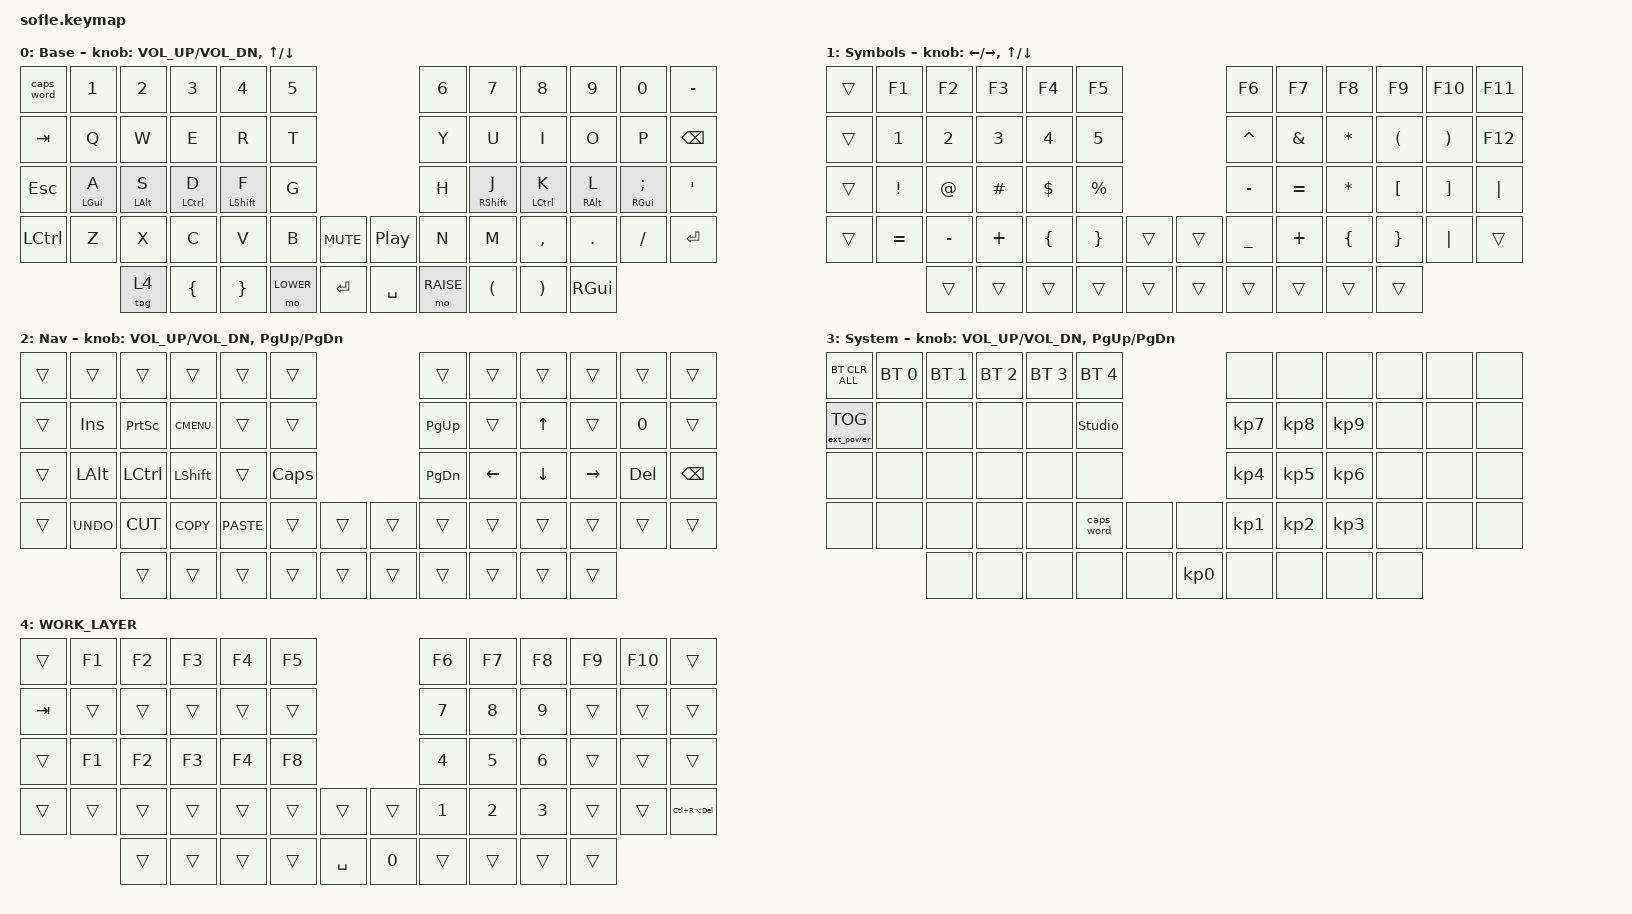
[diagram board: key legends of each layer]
/*
 * Copyright (c) 2020 The ZMK Contributors
 *
 * SPDX-License-Identifier: MIT
 */

#include <behaviors.dtsi>
#include <dt-bindings/zmk/bt.h>
#include <dt-bindings/zmk/ext_power.h>
#include <dt-bindings/zmk/keys.h>

// Encoders

&sensors { triggers-per-rotation = <30>; };

&left_encoder { steps = <60>; };

&right_encoder { steps = <60>; };

#define BASE 0
#define LOWER 1
#define RAISE 2
#define ADJUST 3

/ {
    // Activate ADJUST layer by pressing raise and lower

    conditional_layers {
        compatible = "zmk,conditional-layers";

        adjust {
            if-layers = <1 2>;
            then-layer = <3>;
        };
    };

    combos {
        compatible = "zmk,combos";

        backspace {
            bindings = <&kp BACKSPACE>;
            key-positions = <32 31>;
        };

        delete {
            bindings = <&kp DELETE>;
            key-positions = <27 33>;
        };

        esc {
            bindings = <&kp ESCAPE>;
            key-positions = <25 41>;
        };
    };

    behaviors {
        caps: caps {
            compatible = "zmk,behavior-caps-word";
            label = "CAPS";
            #binding-cells = <0>;
            continue-list = <POUND MINUS BACKSPACE UNDERSCORE>;
        };

        HMShiftR: HMShiftR {
            compatible = "zmk,behavior-hold-tap";
            label = "HMSHIFTR";
            bindings = <&kp>, <&kp>;

            #binding-cells = <2>;
            tapping-term-ms = <200>;
            hold-while-undecided;
            hold-trigger-key-positions = <0 1 3 2 3 4 5 14 15 16 17 26 27 28 29 38 39 40 41 42 50 51 52 53 54 12 12 13 24 25 36 37>;
        };

        HMShiftL: HMShiftL {
            compatible = "zmk,behavior-hold-tap";
            label = "HMSHIFTL";
            bindings = <&kp>, <&kp>;

            #binding-cells = <2>;
            tapping-term-ms = <200>;
            hold-trigger-key-positions = <6 10 11 18 19 20 21 22 23 30 31 32 33 34 35 43 44 45 46 47 48 49 55 56 57 58 59 7 8 9>;
            hold-while-undecided;
            hold-trigger-on-release;
        };

        HMR: HMR {
            compatible = "zmk,behavior-hold-tap";
            label = "HMR";
            bindings = <&kp>, <&kp>;

            #binding-cells = <2>;
            tapping-term-ms = <200>;
            hold-while-undecided;
            hold-trigger-on-release;
            flavor = "tap-preferred";
            hold-trigger-key-positions = <0 1 0 1 2 3 4 5 12 13 14 15 16 17 24 25 26 27 28 29 36 37 38 39 40 41 42 50 51 52 53 54>;
        };

        HML: HML {
            compatible = "zmk,behavior-hold-tap";
            label = "HML";
            bindings = <&kp>, <&kp>;

            #binding-cells = <2>;
            tapping-term-ms = <200>;
            hold-trigger-key-positions = <6 10 11 18 19 20 21 22 23 30 31 32 33 34 35 43 44 45 46 47 48 49 55 56 57 58 59 7 8 9>;
            hold-while-undecided;
            hold-trigger-on-release;
            flavor = "tap-preferred";
        };
    };

    keymap {
        compatible = "zmk,keymap";

        default_layer {
            display-name = "Base";

            // ------------------------------------------------------------------------------------------------------------
            // |   `   |  1  |  2  |  3   |  4   |  5   |                   |  6   |  7    |  8    |  9   |   0   |       |
            // |  ESC  |  Q  |  W  |  E   |  R   |  T   |                   |  Y   |  U    |  I    |  O   |   P   | BKSPC |
            // |  TAB  |  A  |  S  |  D   |  F   |  G   |                   |  H   |  J    |  K    |  L   |   ;   |   '   |
            // | SHIFT |  Z  |  X  |  C   |  V   |  B   |  MUTE  |  |       |  N   |  M    |  ,    |  .   |   /   | SHIFT |
            //               | GUI | ALT  | CTRL | LOWER|  ENTER |  | SPACE | RAISE| CTRL  | ALT   | GUI  |

            bindings = <
&caps_word        &kp N1           &kp N2           &kp N3               &kp N4                  &kp N5                                     &kp N6     &kp N7                   &kp N8                 &kp N9            &kp N0               &kp MINUS
&kp TAB           &kp Q            &kp W            &kp E                &kp R                   &kp T                                      &kp Y      &kp U                    &kp I                  &kp O             &kp P                &kp BSPC
&kp ESCAPE        &HML LEFT_GUI A  &HML LEFT_ALT S  &HML LEFT_CONTROL D  &HMShiftL LEFT_SHIFT F  &kp G                                      &kp H      &HMShiftR RIGHT_SHIFT J  &HMR LEFT_CONTROL K    &HMR RIGHT_ALT L  &HMR RIGHT_GUI SEMI  &kp SQT
&kp LEFT_CONTROL  &kp Z            &kp X            &kp C                &kp V                   &kp B      &kp C_MUTE    &kp C_PLAY_PAUSE  &kp N      &kp M                    &kp COMMA              &kp DOT           &kp FSLH             &kp ENTER
                                   &tog 4           &kp LEFT_BRACE       &kp RIGHT_BRACE         &mo LOWER  &kp ENTER     &kp SPACE         &mo RAISE  &kp LEFT_PARENTHESIS     &kp RIGHT_PARENTHESIS  &kp RGUI
            >;

            sensor-bindings = <&inc_dec_kp C_VOL_UP C_VOL_DN &inc_dec_kp UP DOWN>;
        };

        lower_layer {
            display-name = "Symbols";

            // TODO: Some binds are waiting for shifted keycode support.
            // ------------------------------------------------------------------------------------------------------------
            // |       |  F1 |  F2 |  F3  |  F4  |  F5  |                   |  F6  |  F7   |  F8   |  F9  |  F10  |  F11  |
            // |   `   |  1  |  2  |  3   |  4   |  5   |                   |  6   |  7    |  8    |  9   |   0   |  F12  |
            // |       |  !  |  @  |  #   |  $   |  %   |                   |  ^   |  &    |  *    |  (   |   )   |   |   |
            // |       |  =  |  -  |  +   |  {   |  }   |        |  |       |  [   |  ]    |  ;    |  :   |   \   |       |
            //               |     |      |      |      |        |  |       |      |       |       |      |

            bindings = <
&trans  &kp F1     &kp F2     &kp F3    &kp F4    &kp F5                       &kp F6          &kp F7         &kp F8          &kp F9                &kp F10                &kp F11
&trans  &kp N1     &kp N2     &kp N3    &kp N4    &kp N5                       &kp CARET       &kp AMPERSAND  &kp ASTRK       &kp LEFT_PARENTHESIS  &kp RIGHT_PARENTHESIS  &kp F12
&trans  &kp EXCL   &kp AT     &kp HASH  &kp DLLR  &kp PRCNT                    &kp MINUS       &kp EQUAL      &kp ASTRK       &kp LEFT_BRACKET      &kp RIGHT_BRACKET      &kp PIPE
&trans  &kp EQUAL  &kp MINUS  &kp PLUS  &kp LBRC  &kp RBRC   &trans    &trans  &kp UNDERSCORE  &kp PLUS       &kp LEFT_BRACE  &kp RIGHT_BRACE       &kp PIPE               &trans
                   &trans     &trans    &trans    &trans     &trans    &trans  &trans          &trans         &trans          &trans
            >;

            sensor-bindings =
                <&inc_dec_kp LEFT_ARROW RIGHT_ARROW>,
                <&inc_dec_kp UP_ARROW DOWN_ARROW>;
        };

        raise_layer {
            display-name = "Nav";

            // ------------------------------------------------------------------------------------------------------------
            // | BTCLR | BT1  | BT2  |  BT3  |  BT4  |  BT5 |                |      |      |       |      |       |       |
            // |       | INS  | PSCR | GUI   |       |      |                | PGUP |      |   ^   |      |       |       |
            // |       | ALT  | CTRL | SHIFT |       | CAPS |                | PGDN |   <- |   v   |  ->  |  DEL  | BKSPC |
            // |       | UNDO | CUT  | COPY  | PASTE |      |      |  |      |      |      |       |      |       |       |
            //                |      |       |       |      |      |  |      |      |      |       |      |

            bindings = <
&trans  &trans      &trans     &trans       &trans       &trans                      &trans     &trans    &trans    &trans     &trans   &trans
&trans  &kp INS     &kp PSCRN  &kp K_CMENU  &trans       &trans                      &kp PG_UP  &trans    &kp UP    &trans     &kp N0   &trans
&trans  &kp LALT    &kp LCTRL  &kp LSHFT    &trans       &kp CLCK                    &kp PG_DN  &kp LEFT  &kp DOWN  &kp RIGHT  &kp DEL  &kp BSPC
&trans  &kp K_UNDO  &kp K_CUT  &kp K_COPY   &kp K_PASTE  &trans    &trans    &trans  &trans     &trans    &trans    &trans     &trans   &trans
                    &trans     &trans       &trans       &trans    &trans    &trans  &trans     &trans    &trans    &trans
            >;

            sensor-bindings = <&inc_dec_kp C_VOL_UP C_VOL_DN &inc_dec_kp PG_UP PG_DN>;
        };

        adjust_layer {
            // ----------------------------------------------------------------------------------------------------------------------------
            // | BTCLR  |  BT1    |  BT2    |   BT3   |   BT4   |   BT5   |                  |      |      |       |      |       |       |
            // | EXTPWR | RGB_HUD | RGB_HUI | RGB_SAD | RGB_SAI | RGB_EFF |                  |      |      |       |      |       |       |
            // |        | RGB_BRD | RGB_BRI |         |         |         |                  |      |      |       |      |       |       |
            // |        |         |         |         |         |         | RGB_TOG | |      |      |      |       |      |       |       |
            //                    |         |         |         |         |         | |      |      |      |       |      |

            display-name = "System";
            bindings = <
&bt BT_CLR_ALL     &bt BT_SEL 0  &bt BT_SEL 1  &bt BT_SEL 2  &bt BT_SEL 3  &bt BT_SEL 4                              &none            &none            &none            &none  &none  &none
&ext_power EP_TOG  &none         &none         &none         &none         &studio_unlock                            &kp KP_NUMBER_7  &kp KP_NUMBER_8  &kp KP_NUMBER_9  &none  &none  &none
&none              &none         &none         &none         &none         &none                                     &kp KP_N4        &kp KP_NUMBER_5  &kp KP_NUMBER_6  &none  &none  &none
&none              &none         &none         &none         &none         &caps_word      &none    &none            &kp KP_NUMBER_1  &kp KP_N2        &kp KP_NUMBER_3  &none  &none  &none
                                 &none         &none         &none         &none           &none    &kp KP_NUMBER_0  &none            &none            &none            &none
            >;

            sensor-bindings = <&inc_dec_kp C_VOL_UP C_VOL_DN &inc_dec_kp PG_UP PG_DN>;
        };

        WORK_LAYER {
            bindings = <
&trans   &kp F1  &kp F2  &kp F3  &kp F4  &kp F5                       &kp F6  &kp F7  &kp F8  &kp F9  &kp F10  &trans
&kp TAB  &trans  &trans  &trans  &trans  &trans                       &kp N7  &kp N8  &kp N9  &trans  &trans   &trans
&trans   &kp F1  &kp F2  &kp F3  &kp F4  &kp F8                       &kp N4  &kp N5  &kp N6  &trans  &trans   &trans
&trans   &trans  &trans  &trans  &trans  &trans  &trans       &trans  &kp N1  &kp N2  &kp N3  &trans  &trans   &kp LC(RA(DEL))
                 &trans  &trans  &trans  &trans  &kp SPACE    &kp N0  &trans  &trans  &trans  &trans
            >;
        };
    };
};
